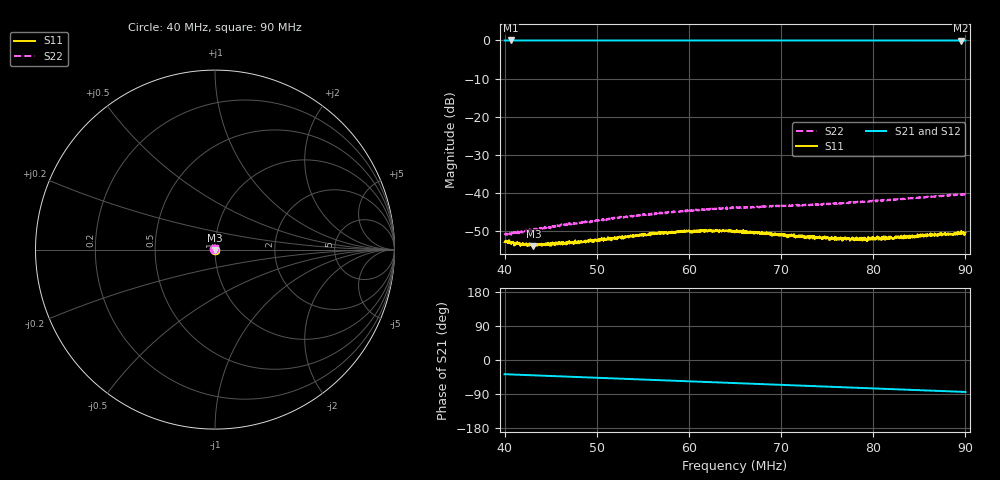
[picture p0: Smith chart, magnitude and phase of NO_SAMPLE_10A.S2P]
!Agilent Technologies,E5061B,MY49102235,A.02.00
!Date: Mon Jul 03 10:45:33 2023
!Data & Calibration Information:
!Freq	S11:SOLT2(ON)	S21:SOLT2(ON)	S12:SOLT2(ON)	S22:SOLT2(ON)
# Hz S RI R 50
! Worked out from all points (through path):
!   1600 points, 40 MHz to 90 MHz, reference 50 ohm
!   highest |S21| = 0.00 dB at 40.69 MHz (marker M1); lowest = 0.0 dB at 89.5 MHz (marker M2)
!   group delay of S21, straight-line fit = 2.6 ns
!   lowest |S11| = -54.1 dB at 43.13 MHz (marker M3), VSWR 1.00, Z = 49.9 - j0.188 ohm
!   |S11| at or under -10 dB: start of sweep to end of sweep
!   |S22| runs from -51.1 to -40.4 dB; largest |S21 - S12| = 0.0013
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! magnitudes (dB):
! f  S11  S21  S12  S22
! 40 MHz  -53.0  0.0  0.0  -50.7
! 40.69 MHz  -53.1  0.0  0.0  -50.8
! 41.97 MHz  -53.2  0.0  0.0  -50.5
! 43.13 MHz  -54.1  0.0  0.0  -49.6
! 48.35 MHz  -52.9  0.0  0.0  -47.9
! 56.67 MHz  -50.8  0.0  0.0  -45.3
! 59.92 MHz  -50.1  0.0  0.0  -44.9
! 60.36 MHz  -50.2  0.0  0.0  -44.7
! 61.48 MHz  -50.0  0.0  0.0  -44.5
! 64.23 MHz  -50.0  0.0  0.0  -44.1
! 65.02 MHz  -50.2  0.0  0.0  -44.0
! 68.46 MHz  -50.4  0.0  0.0  -43.6
! 72.61 MHz  -51.6  0.0  0.0  -43.4
! 73.36 MHz  -51.4  0.0  0.0  -43.1
! 73.68 MHz  -51.9  0.0  0.0  -43.3
! 77.71 MHz  -52.1  0.0  0.0  -42.6
! 81.68 MHz  -51.9  0.0  0.0  -41.9
! 83.09 MHz  -51.9  0.0  0.0  -41.7
! 87.53 MHz  -51.0  0.0  0.0  -40.8
! 88.66 MHz  -50.9  0.0  0.0  -40.6
! 89.5 MHz  -50.8  0.0  0.0  -40.6
! 90 MHz  -50.6  0.0  0.0  -40.4
